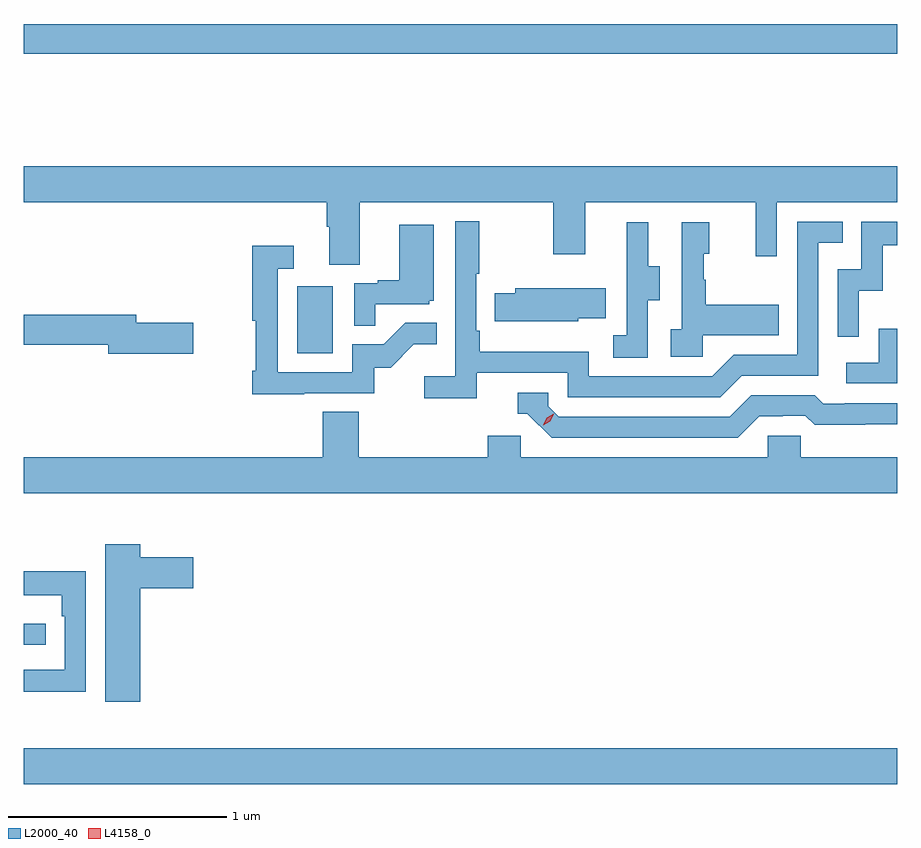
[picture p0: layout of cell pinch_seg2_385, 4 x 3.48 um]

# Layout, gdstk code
import gdstk
lib = gdstk.Library(unit=1e-6, precision=1e-09)
def R(c, l, rs):  # rectangles x0, y0, x1, y1
    for r in rs: c.add(gdstk.rectangle(r[:2], r[2:], *l))
def P(c, l, *ps):  # polygons
    for p in ps: c.add(gdstk.Polygon(p, *l))
L2000_40 = (2000, 40)
L4158_0 = (4158, 0)

pinch_seg2_385 = lib.new_cell('pinch_seg2_385')
R(pinch_seg2_385, L2000_40, [(962.38,611.672,966.38,611.836), (962.38,612.309,962.482,612.405), (963.632,613.644,963.796,613.951), (962.38,615.016,966.38,615.152)])
P(pinch_seg2_385, L2000_40, [(963.919,614.336),(964.804,614.336),(964.804,614.097),(964.951,614.097),(964.951,614.336),(965.732,614.336),(965.732,614.088),(965.829,614.088),(965.829,614.336),(966.38,614.336),(966.38,614.5),(962.38,614.5),(962.38,614.336),(963.767,614.336),(963.767,614.224),(963.779,614.224),(963.779,614.05),(963.919,614.05)],
  [(964.454,613.554),(964.872,613.554),(964.872,613.443),(965.569,613.443),(965.668,613.542),(966.018,613.542),(966.018,614.151),(966.131,614.151),(966.131,614.247),(965.922,614.247),(965.922,613.638),(965.631,613.638),(965.532,613.539),(964.968,613.539),(964.968,613.651),(964.469,613.651),(964.469,613.747),(964.452,613.747),(964.452,614.008),(964.465,614.008),(964.465,614.248),(964.356,614.248),(964.356,613.54),(964.215,613.54),(964.215,613.438),(964.454,613.438)],
  [(966.204,613.931),(966.314,613.931),(966.314,614.139),(966.38,614.139),(966.38,614.247),(966.216,614.247),(966.216,614.028),(966.108,614.028),(966.108,613.719),(966.204,613.719)],
  [(965.49,613.727),(965.837,613.727),(965.837,613.867),(965.503,613.867),(965.503,613.982),(965.493,613.982),(965.493,614.1),(965.518,614.1),(965.518,614.245),(965.394,614.245),(965.394,613.754),(965.343,613.754),(965.343,613.629),(965.49,613.629)],
  [(965.238,613.888),(965.293,613.888),(965.293,614.043),(965.239,614.043),(965.239,614.245),(965.141,614.245),(965.141,614.031),(965.142,614.031),(965.142,613.727),(965.079,613.727),(965.079,613.624),(965.238,613.624)],
  [(963.989,613.869),(964.236,613.869),(964.236,613.884),(964.258,613.884),(964.258,614.233),(964.1,614.233),(964.1,613.978),(964.001,613.978),(964.001,613.965),(963.894,613.965),(963.894,613.771),(963.989,613.771)],
  [(963.665,613.461),(963.984,613.461),(963.984,613.578),(964.06,613.578),(964.167,613.685),(964.271,613.685),(964.271,613.784),(964.127,613.784),(964.029,613.686),(963.885,613.686),(963.885,613.557),(963.543,613.557),(963.543,614.031),(963.616,614.031),(963.616,614.137),(963.427,614.137),(963.427,613.794),(963.442,613.794),(963.442,613.564),(963.427,613.564),(963.427,613.456),(963.665,613.456)],
  [(964.92,613.805),(965.045,613.805),(965.045,613.942),(964.631,613.942),(964.631,613.92),(964.537,613.92),(964.537,613.791),(964.648,613.791),(964.648,613.79),(964.92,613.79)],
  [(963.157,613.784),(962.896,613.784),(962.896,613.82),(962.38,613.82),(962.38,613.684),(962.768,613.684),(962.768,613.642),(963.157,613.642)],
  [(966.38,613.756),(966.294,613.756),(966.294,613.602),(966.147,613.602),(966.147,613.506),(966.38,613.506)],
  [(965.749,613.356),(965.856,613.356),(965.856,613.359),(965.959,613.359),(966.001,613.317),(966.234,613.317),(966.234,613.319),(966.38,613.319),(966.38,613.416),(966.139,613.416),(966.139,613.413),(966.04,613.413),(966.001,613.452),(965.712,613.452),(965.613,613.353),(964.83,613.353),(964.782,613.401),(964.782,613.464),(964.643,613.464),(964.643,613.368),(964.686,613.368),(964.797,613.257),(965.65,613.257)],
  [(966.38,613.168),(965.937,613.168),(965.937,613.266),(965.787,613.266),(965.787,613.168),(964.656,613.168),(964.656,613.266),(964.505,613.266),(964.505,613.168),(963.914,613.168),(963.914,613.376),(963.749,613.376),(963.749,613.168),(962.38,613.168),(962.38,613.004),(966.38,613.004)],
  [(962.914,612.569),(963.157,612.569),(963.157,612.711),(962.914,612.711),(962.914,612.769),(962.753,612.769),(962.753,612.048),(962.914,612.048)],
  [(962.664,612.646),(962.38,612.646),(962.38,612.536),(962.555,612.536),(962.555,612.44),(962.568,612.44),(962.568,612.195),(962.38,612.195),(962.38,612.094),(962.664,612.094)])
P(pinch_seg2_385, L4158_0, [(964.759,613.315),(964.759,613.315),(964.775,613.348),(964.806,613.367),(964.806,613.367),(964.806,613.366),(964.79,613.334),(964.759,613.315)])

lib.write_gds('pinch_seg2_385.gds')
